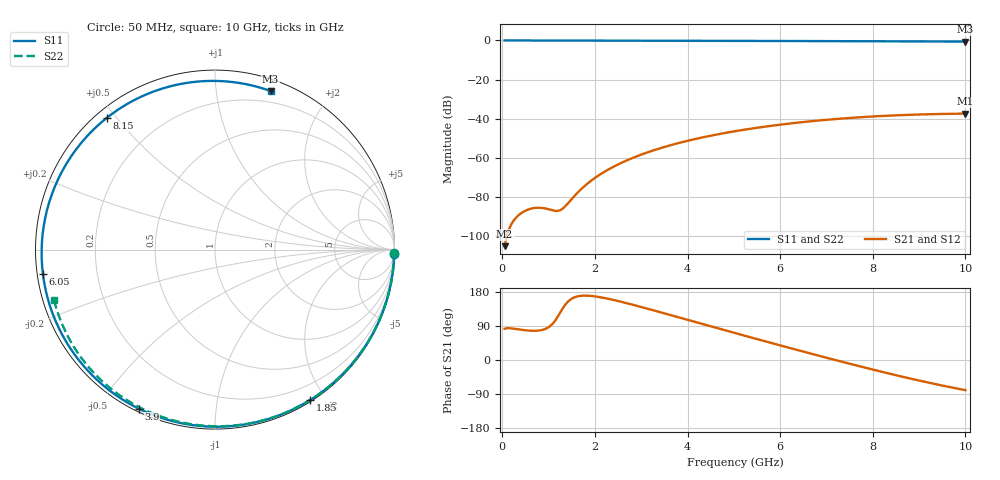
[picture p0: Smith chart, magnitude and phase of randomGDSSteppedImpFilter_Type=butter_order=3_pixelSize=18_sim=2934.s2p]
! freq	dB(S11)	phase(S11)	dB(S12)	phase(S12)
!  dB(S21)	phase(S21)	dB(S22)	phase(S22)
!S-par simulation data
#  GHz  S  DB  R 50
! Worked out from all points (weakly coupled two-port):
!   200 points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, 50 MHz to 10 GHz, reference 50 ohm
!   highest |S21| = -37.44 dB at 10 GHz (marker M1); lowest = -105.3 dB at 50 MHz (marker M2)
!   lowest |S11| = -0.6 dB at 10 GHz (marker M3), VSWR 30.29, Z = 4.92 + j70.3 ohm
!   |S11| at or under -10 dB: nowhere
!   |S22| runs from -0.5 to 0.0 dB; largest |S21 - S12| = 0
!   S11 on the Smith chart (normalised r, x): 50 MHz: 1, -74; 1.85 GHz: 0.02, -1.81; 3.9 GHz: 0.01, -0.63; 6.05 GHz: 0.02, -0.07; 8.15 GHz: 0.03, +0.47; 10 GHz: 0.10, +1.41
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0.05  -0.00 -1.6  -105.25 82.4  -105.25 82.4  -0.00 -0.9
0.75  -0.03 -23.9  -85.58 77.3  -85.58 77.3  -0.02 -14.2
1.5  -0.06 -47.2  -81.10 161.8  -81.10 161.8  -0.04 -28.2
1.55  -0.06 -48.8  -79.78 164.9  -79.78 164.9  -0.04 -29.1
1.75  -0.07 -54.8  -75.04 169.8  -75.04 169.8  -0.04 -32.8
1.85  -0.07 -57.8  -73.02 169.7  -73.02 169.7  -0.04 -34.6
2.15  -0.08 -66.7  -67.98 164.9  -67.98 164.9  -0.05 -40.0
2.5  -0.10 -76.9  -63.43 155.6  -63.43 155.6  -0.06 -46.3
2.95  -0.11 -89.7  -58.85 141.5  -58.85 141.5  -0.07 -54.2
3.4  -0.13 -102.1  -55.22 126.5  -55.22 126.5  -0.08 -62.0
3.9  -0.15 -115.6  -51.93 109.5  -51.93 109.5  -0.10 -70.5
4.5  -0.18 -131.5  -48.73 89.0  -48.73 89.0  -0.12 -80.3
5.05  -0.21 -145.9  -46.33 70.3  -46.33 70.3  -0.14 -89.1
5.55  -0.24 -158.9  -44.50 53.5  -44.50 53.5  -0.16 -97.0
6.05  -0.28 -172.0  -42.94 36.9  -42.94 36.9  -0.18 -104.6
6.7  -0.33 170.7  -41.25 15.7  -41.25 15.7  -0.22 -114.4
7.4  -0.39 151.3  -39.82 -6.7  -39.82 -6.7  -0.27 -124.7
8.15  -0.45 129.5  -38.70 -29.8  -38.70 -29.8  -0.33 -135.5
8.35  -0.46 123.4  -38.47 -35.7  -38.47 -35.7  -0.35 -138.4
9.2  -0.53 96.8  -37.76 -59.6  -37.76 -59.6  -0.44 -150.7
9.6  -0.55 83.9  -37.56 -69.9  -37.56 -69.9  -0.49 -156.6
10  -0.57 70.7  -37.44 -79.6  -37.44 -79.6  -0.54 -162.5
